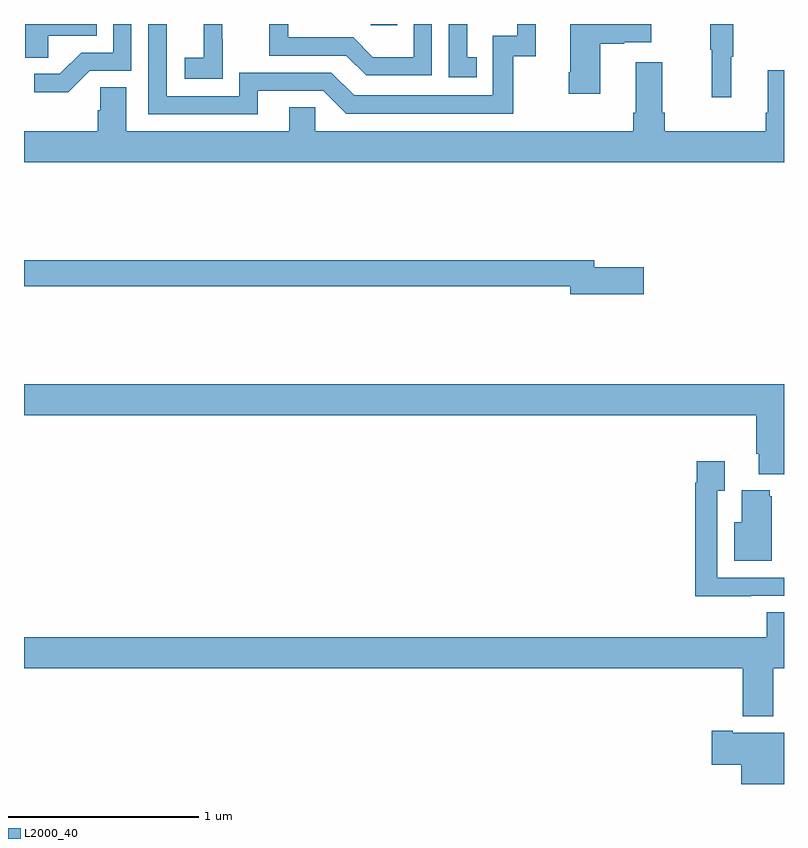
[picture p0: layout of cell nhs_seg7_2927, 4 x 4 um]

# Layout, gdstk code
import gdstk
lib = gdstk.Library(unit=1e-6, precision=1e-09)
def R(c, l, rs):  # rectangles x0, y0, x1, y1
    for r in rs: c.add(gdstk.rectangle(r[:2], r[2:], *l))
def P(c, l, *ps):  # polygons
    for p in ps: c.add(gdstk.Polygon(p, *l))
L2000_40 = (2000, 40)

nhs_seg7_2927 = lib.new_cell('nhs_seg7_2927')
R(nhs_seg7_2927, L2000_40, [(300.825,1011.993,300.965,1012)])
P(nhs_seg7_2927, L2000_40, [(301.146,1012),(301.05,1012),(301.05,1011.826),(300.836,1011.826),(300.732,1011.93),(300.39,1011.93),(300.39,1012),(300.292,1012),(300.292,1011.834),(300.695,1011.834),(300.8,1011.729),(301.146,1011.729)],
  [(299.346,1011.753),(299.565,1011.753),(299.565,1012),(299.469,1012),(299.469,1011.849),(299.3,1011.849),(299.189,1011.738),(299.055,1011.738),(299.055,1011.641),(299.233,1011.641)],
  [(300.229,1011.648),(300.576,1011.648),(300.696,1011.528),(301.576,1011.528),(301.576,1011.831),(301.694,1011.831),(301.694,1012),(301.596,1012),(301.596,1011.939),(301.467,1011.939),(301.467,1011.624),(300.738,1011.624),(300.618,1011.744),(300.132,1011.744),(300.132,1011.621),(299.751,1011.621),(299.751,1012),(299.655,1012),(299.655,1011.525),(300.229,1011.525)],
  [(300.045,1011.919),(300.044,1011.919),(300.044,1012),(299.945,1012),(299.945,1011.823),(299.847,1011.823),(299.847,1011.713),(300.045,1011.713)],
  [(301.382,1011.825),(301.333,1011.825),(301.333,1012),(301.236,1012),(301.236,1011.72),(301.382,1011.72)],
  [(302.723,1011.827),(302.734,1011.827),(302.734,1012),(302.613,1012),(302.613,1011.864),(302.62,1011.864),(302.62,1011.615),(302.723,1011.615)],
  [(302.032,1011.895),(302.159,1011.895),(302.159,1011.905),(302.302,1011.905),(302.302,1012),(301.874,1012),(301.874,1011.745),(301.867,1011.745),(301.867,1011.633),(302.032,1011.633)],
  [(299.127,1011.938),(299.384,1011.938),(299.384,1012),(299.006,1012),(299.006,1011.823),(299.127,1011.823)],
  [(303,1011.757),(302.915,1011.757),(302.915,1011.532),(302.903,1011.532),(302.903,1011.436),(302.372,1011.436),(302.372,1011.532),(302.359,1011.532),(302.359,1011.799),(302.219,1011.799),(302.219,1011.532),(302.207,1011.532),(302.207,1011.436),(300.534,1011.436),(300.534,1011.563),(300.395,1011.563),(300.395,1011.436),(299.539,1011.436),(299.539,1011.668),(299.4,1011.668),(299.4,1011.545),(299.387,1011.545),(299.387,1011.436),(299,1011.436),(299,1011.272),(303,1011.272)],
  [(302.263,1010.72),(302.002,1010.72),(302.002,1010.756),(299,1010.756),(299,1010.62),(301.874,1010.62),(301.874,1010.578),(302.263,1010.578)],
  [(303,1010.104),(299,1010.104),(299,1009.94),(302.855,1009.94),(302.855,1009.738),(302.867,1009.738),(302.867,1009.631),(303,1009.631)],
  [(302.825,1008.99),(303,1008.99),(303,1009.086),(302.649,1009.086),(302.649,1009.543),(302.689,1009.543),(302.689,1009.699),(302.541,1009.699),(302.541,1009.586),(302.533,1009.586),(302.533,1008.989),(302.825,1008.989)],
  [(302.935,1009.515),(302.924,1009.515),(302.924,1009.546),(302.777,1009.546),(302.777,1009.378),(302.738,1009.378),(302.738,1009.175),(302.935,1009.175)],
  [(302.943,1008.608),(303,1008.608),(303,1008.905),(302.909,1008.905),(302.909,1008.772),(299,1008.772),(299,1008.608),(302.783,1008.608),(302.783,1008.356),(302.943,1008.356)],
  [(303,1008.271),(302.731,1008.271),(302.731,1008.279),(302.619,1008.279),(302.619,1008.101),(302.774,1008.101),(302.774,1008),(303,1008)])

lib.write_gds('nhs_seg7_2927.gds')
